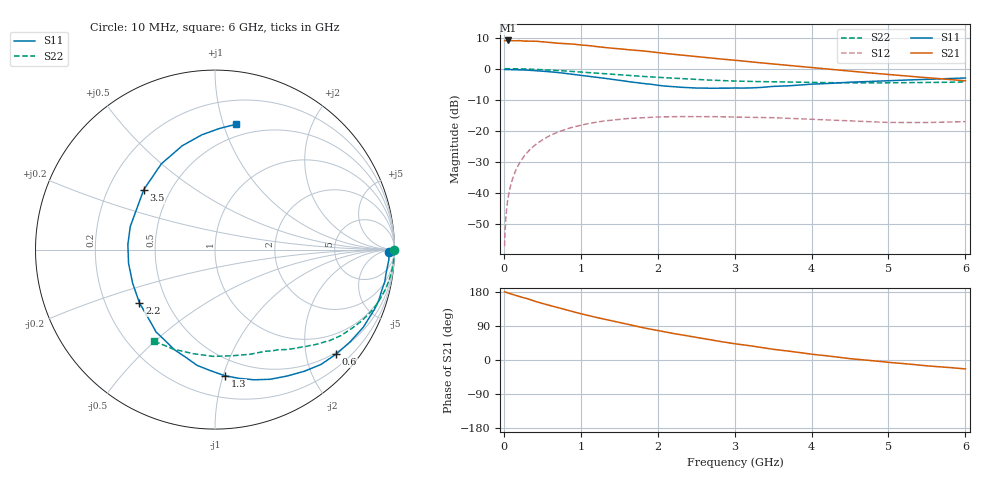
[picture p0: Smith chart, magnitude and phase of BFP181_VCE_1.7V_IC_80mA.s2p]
! Infineon Technologies  Discrete & RF Semiconductors
! BFP181
! VCE = 1.7 V,  IC =  80 mA
! Common Emitter S-Parameters:  Jan 2016
# GHz  S  MA  R  50
!  f  S11  S21  S12  S22
! GHz  MAG  ANG  MAG  ANG  MAG  ANG  MAG  ANG
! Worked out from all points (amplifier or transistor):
!   210 points, 10 MHz to 6 GHz, reference 50 ohm
!   highest |S21| = 9.1 dB at 50 MHz (marker M1)
!   |S21| within 3 dB of that: start of sweep to 1.627 GHz
!   unconditionally stable (mu >= 1): 3.184 GHz to end of sweep
!   at 185 MHz: K = 0.07, MSG = 20.1 dB, |S12| = -31.2 dB
!   at 1.52 GHz: K = 0.51, MSG = 11.3 dB, |S12| = -16.3 dB
!   at 6 GHz: K = 1.36, MAG = 3.0 dB, |S12| = -17.0 dB
!   S11 on the Smith chart (normalised r, x): 10 MHz: 50, -24; 600 MHz: 0.46, -2.62; 1.3 GHz: 0.36, -1.01; 2.2 GHz: 0.35, -0.28; 3.5 GHz: 0.35, +0.32; 6 GHz: 0.39, +1.10
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0.01  0.9681 -0.9  2.814 179.7  0.0014 87.7  0.9994 -0.2
0.015  0.9683 -1.3  2.81 179.6  0.0022 88.7  0.9988 -0.4
0.025  0.9688 -1.9  2.811 179.0  0.0038 88.9  0.998 -0.8
0.05  0.9704 -3.2  2.841 177.0  0.0077 88.6  0.9968 -1.6
0.115  0.9621 -8.1  2.808 173.0  0.0172 83.4  0.9964 -3.8
0.22  0.9557 -15.2  2.807 166.4  0.0328 79.7  0.9911 -7.2
0.4  0.9327 -27.6  2.774 155.2  0.0585 71.4  0.9765 -12.9
0.6  0.8915 -40.8  2.642 143.8  0.0841 62.5  0.9504 -19.0
0.82  0.8337 -55.1  2.523 131.5  0.1075 53.4  0.9147 -24.9
1.02  0.7786 -68.2  2.394 121.2  0.1248 45.8  0.8794 -30.0
1.1  0.757 -73.4  2.357 117.0  0.1311 43.0  0.8652 -31.9
1.3  0.705 -85.5  2.201 107.9  0.1441 36.4  0.8327 -36.3
1.7  0.6019 -112.1  1.985 90.1  0.1599 25.4  0.7666 -43.8
2.02  0.537 -132.7  1.799 77.1  0.1673 18.3  0.724 -48.7
2.2  0.515 -144.8  1.707 70.0  0.1692 14.4  0.7034 -51.7
2.62  0.4865 -172.2  1.514 55.7  0.1694 7.3  0.659 -57.9
3.1  0.4875 159.7  1.33 40.3  0.1659 0.3  0.6275 -65.2
3.5  0.5186 140.0  1.193 28.3  0.1628 -3.7  0.615 -71.5
4.1  0.5693 118.9  1.012 13.2  0.1517 -7.9  0.5968 -82.8
4.5  0.6067 107.5  0.912 3.5  0.1446 -9.4  0.5949 -91.1
5.1  0.6485 94.8  0.787 -7.8  0.1364 -7.9  0.5925 -104.0
6  0.7079 80.6  0.638 -23.5  0.1406 -3.6  0.6127 -123.8
